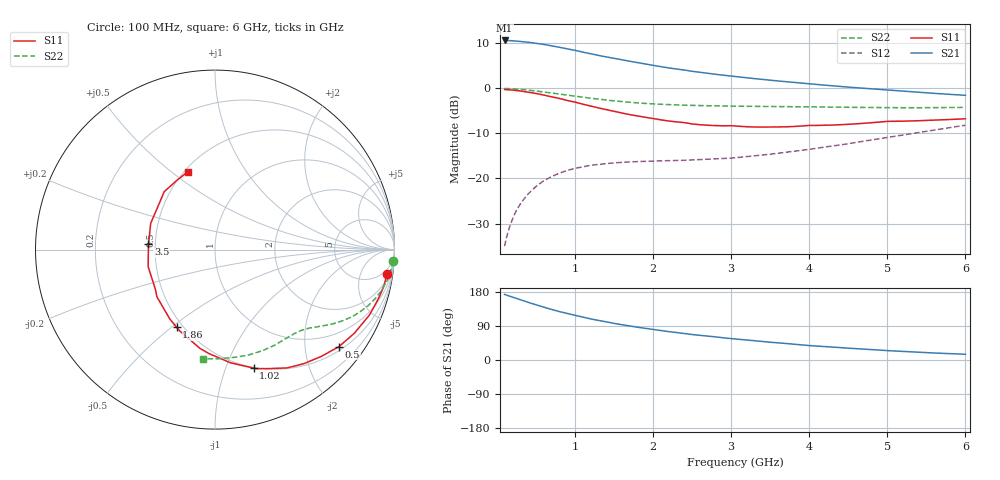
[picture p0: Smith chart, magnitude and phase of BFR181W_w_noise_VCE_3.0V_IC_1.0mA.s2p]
! Infineon Technologies  Discrete & RF Semiconductors
! BFR181W
! VCE =  3.0 V,  IC =  1.0 mA
! Common Emitter S-Parameters:  Nov 2015
# GHz  S  MA  R  50
!  f  S11  S21  S12  S22
! GHz  MAG  ANG  MAG  ANG  MAG  ANG  MAG  ANG
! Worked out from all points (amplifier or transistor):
!   192 points, 100 MHz to 6 GHz, reference 50 ohm
!   highest |S21| = 10.6 dB at 100 MHz (marker M1)
!   |S21| within 3 dB of that: start of sweep to 1.215 GHz
!   unconditionally stable (mu >= 1): 2.579 GHz to 3.903 GHz
!   at 440 MHz: K = 0.20, MSG = 16.4 dB, |S12| = -22.8 dB
!   at 1.7 GHz: K = 0.73, MSG = 11.2 dB, |S12| = -16.3 dB
!   at 6 GHz: K = 0.77, MSG = 3.3 dB, |S12| = -8.2 dB
!   lowest NFmin = 1.30 dB at 450 MHz
!   S11 on the Smith chart (normalised r, x): 100 MHz: 3, -14; 500 MHz: 0.60, -2.79; 1.02 GHz: 0.49, -1.26; 1.86 GHz: 0.46, -0.52; 3.5 GHz: 0.46, +0.03; 6 GHz: 0.52, +0.57
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0.1  0.9682 -8.0  3.38 173.1  0.0178 84.6  0.9937 -3.7
0.15  0.9629 -12.0  3.371 169.4  0.0268 82.2  0.9904 -5.5
0.24  0.9449 -18.7  3.335 163.2  0.0423 78.1  0.9802 -8.7
0.4  0.9058 -30.9  3.24 152.2  0.0672 71.1  0.9534 -14.1
0.5  0.8771 -38.0  3.154 145.8  0.0813 66.6  0.9323 -17.2
0.6  0.8397 -45.1  3.062 139.5  0.0942 62.8  0.9095 -20.0
0.72  0.7984 -53.3  2.934 132.3  0.1068 58.6  0.8804 -23.1
0.8  0.7723 -58.6  2.852 127.8  0.1143 56.2  0.8614 -25.0
0.9  0.732 -64.9  2.731 122.6  0.1228 53.3  0.8388 -27.0
1.02  0.6944 -71.9  2.606 116.9  0.1303 50.2  0.8119 -29.3
1.1  0.6658 -76.3  2.511 113.4  0.1346 48.4  0.7951 -30.6
1.22  0.6294 -83.3  2.388 107.7  0.1407 46.0  0.7712 -32.6
1.5  0.5566 -98.7  2.142 96.6  0.1487 41.9  0.7234 -36.2
1.6  0.5314 -103.3  2.063 93.0  0.1512 41.1  0.7113 -37.3
1.86  0.483 -116.2  1.881 84.8  0.1546 39.8  0.6817 -40.0
2.08  0.4492 -126.3  1.745 78.3  0.1565 39.6  0.6649 -42.2
2.5  0.4017 -145.0  1.54 67.2  0.1605 41.1  0.645 -46.2
3.1  0.3787 -169.3  1.333 54.6  0.1715 46.7  0.6313 -53.0
3.5  0.3717 175.5  1.227 46.9  0.1856 50.8  0.6277 -58.1
4.1  0.3872 154.7  1.1 36.8  0.2166 55.7  0.6199 -66.4
5.1  0.4299 128.8  0.943 23.8  0.2939 58.8  0.6084 -82.0
6  0.4587 109.5  0.834 15.1  0.3888 56.3  0.6129 -96.4
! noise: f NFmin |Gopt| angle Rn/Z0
0.45  1.3  0.7  18  0.5
0.9  1.4  0.6  39  0.52
1.8  1.85  0.4  81  0.47
